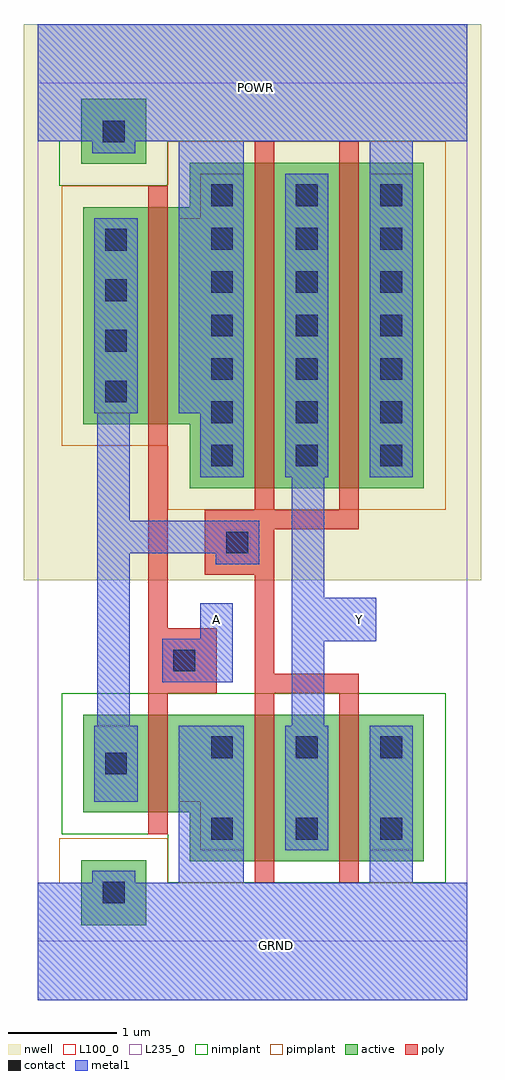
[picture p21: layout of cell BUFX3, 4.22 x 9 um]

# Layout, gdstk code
import gdstk
lib = gdstk.Library(unit=1e-6, precision=1e-09)
def R(c, l, rs):  # rectangles x0, y0, x1, y1
    for r in rs: c.add(gdstk.rectangle(r[:2], r[2:], *l))
def A(c, l, x, y, w, h, nx, ny, dx, dy):  # array of equal rectangles
    R(c, l, [(x+i*dx, y+j*dy, x+i*dx+w, y+j*dy+h) for i in range(nx) for j in range(ny)])
def P(c, l, *ps):  # polygons
    for p in ps: c.add(gdstk.Polygon(p, *l))
active = (1, 0)
nwell = (2, 0)
poly = (3, 0)
nimplant = (4, 0)
pimplant = (5, 0)
contact = (6, 0)
metal1 = (7, 0)
L100_0 = (100, 0)
L235_0 = (235, 0)

bufx3 = lib.new_cell('BUFX3')
R(bufx3, active, [(0.4,0.15,1,0.75), (2,0.74,2.18,2.09), (2.18,0.74,2.78,2.09), (2.78,0.74,2.96,2.09), (2.96,0.74,3.56,2.09), (0.42,1.19,1.02,2.09), (1.02,1.19,1.2,2.09), (2,4.18,2.18,7.18), (2.18,4.18,2.78,7.18), (2.78,4.18,2.96,7.18), (2.96,4.18,3.56,7.18), (0.42,4.77,1.02,6.77), (1.02,4.77,1.2,6.77), (0.4,7.17,1,7.77)])
P(bufx3, active, [(2,7.18),(1.4,7.18),(1.4,6.77),(1.2,6.77),(1.2,4.77),(1.4,4.77),(1.4,4.18),(2,4.18)],
  [(2,2.09),(1.02,2.09),(1.02,1.19),(1.4,1.19),(1.4,0.74),(2,0.74)])
R(bufx3, nwell, [(-0.13,3.33,4.09,8.46)])
R(bufx3, poly, [(2,0.54,2.18,0.74), (2,0.54,2.18,2.29), (2.78,0.54,2.96,0.74), (2.78,0.54,2.96,2.29), (1.02,0.99,1.2,1.19), (1.02,0.99,1.2,2.29), (1.02,2.09,1.2,2.29), (2,2.09,2.18,2.29), (2.78,2.09,2.96,2.29), (2,3.98,2.18,4.18), (2,3.98,2.18,7.38), (2.78,3.98,2.96,4.18), (2.78,3.98,2.96,7.38), (1.02,4.57,1.2,6.97), (1.02,4.57,1.2,4.77), (1.02,6.77,1.2,6.97), (2,7.18,2.18,7.38), (2.78,7.18,2.96,7.38)])
P(bufx3, poly, [(2.96,2.47),(2.18,2.47),(2.18,3.8),(2.96,3.8),(2.96,3.98),(1.54,3.98),(1.54,3.38),(2,3.38),(2,2.29),(2.96,2.29)],
  [(1.65,2.89),(1.2,2.89),(1.2,4.58),(1.02,4.58),(1.02,2.27),(1.2,2.27),(1.2,2.29),(1.65,2.29)])
P(bufx3, nimplant, [(3.76,2.29),(0.22,2.29),(0.22,0.99),(1.2,0.99),(1.2,0.54),(3.76,0.54)],
  [(3.96,8.46),(0,8.46),(0,7.38),(0.2,7.38),(0.2,6.97),(1.2,6.97),(1.2,7.38),(3.96,7.38)])
P(bufx3, pimplant, [(3.76,7.38),(1.2,7.38),(1.2,6.97),(0.22,6.97),(0.22,4.57),(1.2,4.57),(1.2,3.98),(3.76,3.98)],
  [(3.96,0.54),(1.2,0.54),(1.2,0.95),(0.2,0.95),(0.2,0.54),(0,0.54),(0,-0.54),(3.96,-0.54)])
A(bufx3, contact, 1.6, 0.94, 0.2, 0.2, 3, 2, 0.78, 0.75)
A(bufx3, contact, 1.6, 4.38, 0.2, 0.2, 3, 7, 0.78, 0.4)
A(bufx3, contact, 0.62, 5.44, 0.2, 0.2, 1, 3, 0, 0.465)
R(bufx3, contact, [(0.6,0.35,0.8,0.55), (0.62,1.54,0.82,1.74), (1.25,2.49,1.45,2.69), (1.74,3.58,1.94,3.78), (0.62,4.97,0.82,5.17), (0.6,7.37,0.8,7.57)])
R(bufx3, metal1, [(0,-0.54,3.96,0.54), (0.5,0.25,0.9,0.65), (1.3,0.54,1.9,1.99), (3.06,0.54,3.46,0.84), (1.5,2.82,1.8,3.12), (2.82,2.82,3.12,3.12), (3.06,7.08,3.46,7.38), (0.5,7.27,0.9,7.67), (0,7.38,3.96,8.46)])
P(bufx3, metal1, [(3.12,3.17),(2.64,3.17),(2.64,4.28),(2.34,4.28),(2.34,1.99),(2.64,1.99),(2.64,2.77),(3.12,2.77)],
  [(1.9,7.38),(1.3,7.38),(1.3,4.87),(1.5,4.87),(1.5,4.28),(1.9,4.28)],
  [(2.04,3.88),(0.85,3.88),(0.85,4.87),(0.55,4.87),(0.55,1.99),(0.85,1.99),(0.85,3.58),(1.64,3.58),(1.64,3.48),(2.04,3.48)],
  [(1.8,3.12),(1.5,3.12),(1.5,2.79),(1.15,2.79),(1.15,2.39),(1.8,2.39)])
R(bufx3, L100_0, [(3.06,0.84,3.46,1.99), (0.52,1.29,0.92,1.99), (3.06,4.28,3.46,7.08), (0.52,4.87,0.92,6.67)])
P(bufx3, L100_0, [(1.9,1.99),(1.3,1.99),(1.3,1.29),(1.5,1.29),(1.5,0.84),(1.9,0.84)],
  [(1.9,7.08),(1.5,7.08),(1.5,6.67),(1.3,6.67),(1.3,4.87),(1.5,4.87),(1.5,4.28),(1.9,4.28)])
R(bufx3, L235_0, [(0,0,3.96,7.92)])
bufx3.add(gdstk.FlexPath([(0.72,1.29),(0.72,1.99)], 0.4, ends="flush", simple_path=True, layer=7, datatype=0))  # metal1
bufx3.add(gdstk.FlexPath([(2.48,0.84),(2.48,1.99)], 0.4, ends="flush", simple_path=True, layer=7, datatype=0))  # metal1
bufx3.add(gdstk.FlexPath([(3.26,0.84),(3.26,1.99)], 0.4, ends="flush", simple_path=True, layer=7, datatype=0))  # metal1
bufx3.add(gdstk.FlexPath([(3.26,4.28),(3.26,7.08)], 0.4, ends="flush", simple_path=True, layer=7, datatype=0))  # metal1
bufx3.add(gdstk.FlexPath([(2.48,4.28),(2.48,7.08)], 0.4, ends="flush", simple_path=True, layer=7, datatype=0))  # metal1
bufx3.add(gdstk.FlexPath([(0.72,4.87),(0.72,6.67)], 0.4, ends="flush", simple_path=True, layer=7, datatype=0))  # metal1
bufx3.add(gdstk.Label('GRND', (2.2,-0.04), layer=230, texttype=0))
bufx3.add(gdstk.Label('A', (1.65,2.97), layer=230, texttype=0))
bufx3.add(gdstk.Label('Y', (2.97,2.97), layer=230, texttype=0))
bufx3.add(gdstk.Label('POWR', (2.01,7.87), layer=230, texttype=0))

lib.write_gds('BUFX3.gds')
